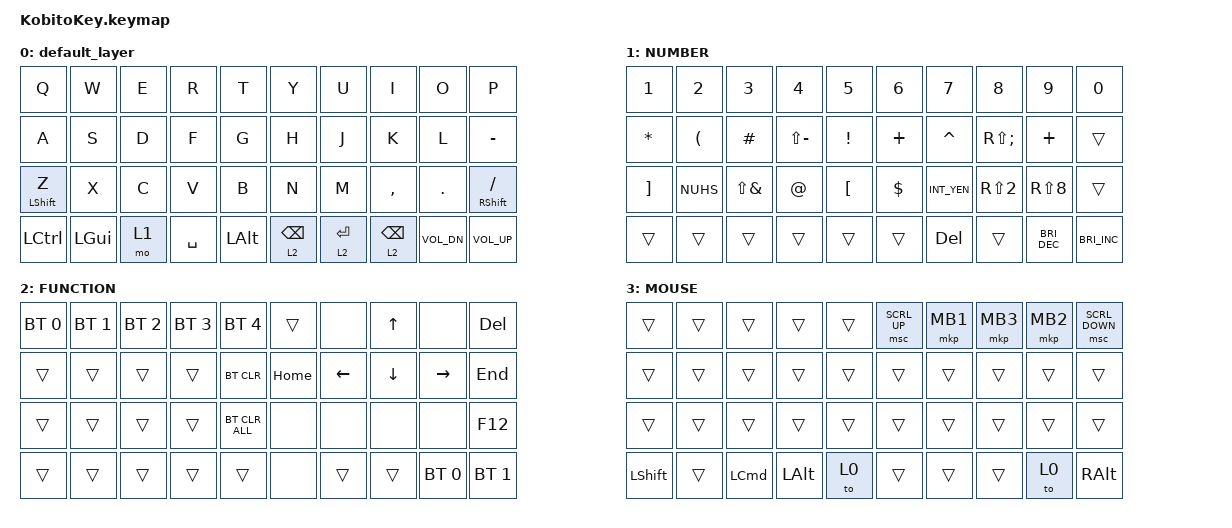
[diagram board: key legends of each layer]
#include <input/processors.dtsi>
#include <behaviors.dtsi>
#include <dt-bindings/zmk/bt.h>
#include <dt-bindings/zmk/keys.h>
#include <dt-bindings/zmk/pointing.h>

/ {
    combos {
        compatible = "zmk,combos";

        combo_eisu {
            timeout-ms = <50>;
            key-positions = <12 13>;
            bindings = <&kp LANG2>;
        };

        combo_kana {
            timeout-ms = <50>;
            key-positions = <16 17>;
            bindings = <&kp LANG1>;
        };

        combo_esc {
            timeout-ms = <50>;
            key-positions = <30 31>;
            bindings = <&kp ESCAPE>;
        };

        combo_tab {
            timeout-ms = <50>;
            key-positions = <0 1>;
            bindings = <&kp TAB>;
        };

        screenshot {
            bindings = <&kp PRINTSCREEN>;
            key-positions = <13 14 33>;
            layers = <1>;
        };

        mute {
            bindings = <&kp K_MUTE>;
            key-positions = <39 38>;
        };
    };

    keymap {
        compatible = "zmk,keymap";

        default_layer {
            bindings = <
&kp Q             &kp W         &kp E  &kp R      &kp T         &kp Y            &kp U        &kp I            &kp O         &kp P
&kp A             &kp S         &kp D  &kp F      &kp G         &kp H            &kp J        &kp K            &kp L         &kp MINUS
&mt LEFT_SHIFT Z  &kp X         &kp C  &kp V      &kp B         &kp N            &kp M        &kp COMMA        &kp DOT       &mt RIGHT_SHIFT SLASH
&kp LEFT_CONTROL  &kp LEFT_GUI  &mo 1  &kp SPACE  &kp LEFT_ALT  &lt 2 BACKSPACE  &lt 2 ENTER  &lt 2 BACKSPACE  &kp C_VOL_DN  &kp C_VOLUME_UP
            >;
        };

        layer1 {
            label = "NUMBER";
            bindings = <
&kp NUMBER_1       &kp NUMBER_2          &kp NUMBER_3       &kp NUMBER_4   &kp N5            &kp NUMBER_6  &kp N7       &kp N8             &kp N9                &kp N0
&kp ASTERISK       &kp LEFT_PARENTHESIS  &kp HASH           &kp LS(MINUS)  &kp EXCLAMATION   &kp PLUS      &kp CARET    &kp RS(SEMICOLON)  &kp PLUS              &trans
&kp RIGHT_BRACKET  &kp NUHS              &kp LS(AMPERSAND)  &kp AT_SIGN    &kp LEFT_BRACKET  &kp DOLLAR    &kp INT_YEN  &kp RS(NUMBER_2)   &kp RS(N8)            &trans
&trans             &trans                &trans             &trans         &trans            &trans        &kp DEL      &trans             &kp C_BRIGHTNESS_DEC  &kp C_BRIGHTNESS_INC
            >;
        };

        layer2 {
            label = "FUNCTION";
            bindings = <
&bt BT_SEL 0  &bt BT_SEL 1  &bt BT_SEL 2  &bt BT_SEL 3  &bt BT_SEL 4    &trans    &none     &kp UP    &none         &kp DEL
&trans        &trans        &trans        &trans        &bt BT_CLR      &kp HOME  &kp LEFT  &kp DOWN  &kp RIGHT     &kp END
&trans        &trans        &trans        &trans        &bt BT_CLR_ALL  &none     &none     &none     &none         &kp F12
&trans        &trans        &trans        &trans        &trans          &none     &trans    &trans    &bt BT_SEL 0  &bt BT_SEL 1
            >;
        };

        layer3 {
            label = "MOUSE";
            bindings = <
&trans     &trans  &trans    &trans    &trans  &msc SCRL_UP  &mkp MB1  &mkp MB3  &mkp MB2  &msc SCRL_DOWN
&trans     &trans  &trans    &trans    &trans  &trans        &trans    &trans    &trans    &trans
&trans     &trans  &trans    &trans    &trans  &trans        &trans    &trans    &trans    &trans
&kp LSHFT  &trans  &kp LCMD  &kp LALT  &to 0   &trans        &trans    &trans    &to 0     &kp RALT
            >;
        };
    };
};
